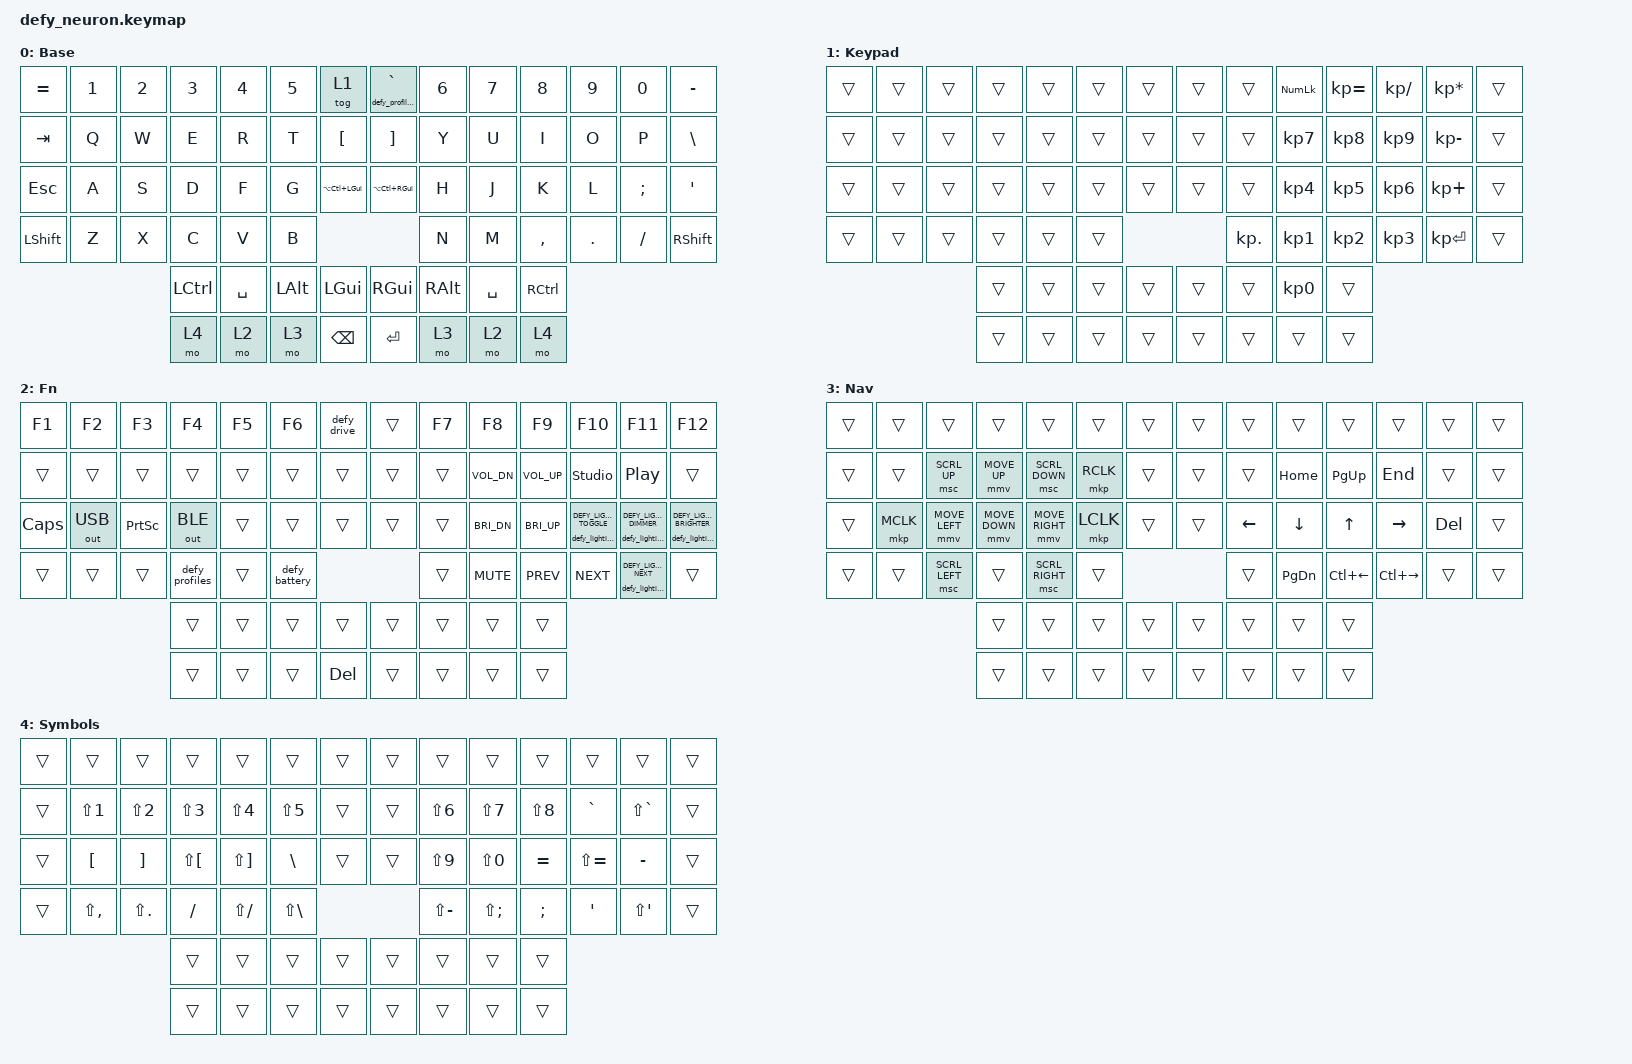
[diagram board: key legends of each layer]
/*
 * The Defy's keymap, on the Neuron: the five layers saved from Bazecor, plus
 * the Defy controls on Fn and the mouse keys on Nav's left half. ZMK finds
 * this file by the board's name.
 *
 * SPDX-License-Identifier: MIT
 */

#include <behaviors.dtsi>
#include <behaviors/defy.dtsi>
#include <dt-bindings/dygma/defy_lighting.h>
#include <dt-bindings/zmk/keys.h>
#include <dt-bindings/zmk/outputs.h>
#include <dt-bindings/zmk/pointing.h>

/ {
    behaviors {
        /* Tap for grave, hold for 300 ms for the Bluetooth profile chooser. */
        defy_profile_tap: profile_tap {
            compatible = "zmk,behavior-hold-tap";
            #binding-cells = <2>;
            display-name = "Grave / Bluetooth profiles";
            tapping-term-ms = <300>;
            flavor = "tap-preferred";
            bindings = <&defy_profiles>, <&kp>;
        };
    };
};

/*
 * LIGHTING
 *
 * On the Fn layer: Fn+L turns the lighting on and off, Fn+; makes it dimmer
 * and Fn+' brighter, in 12 steps from 4 to 255, and Fn+/ shows the next
 * look. The Neuron remembers the look and the brightness.
 *
 * The three blocks below set the colours. After an edit, push it and wait for
 * the build, then run defy-installer update, or copy neuron-hybrid.uf2 onto
 * the DEFY drive. The halves need nothing.
 *
 * Colours, at full strength; the brightness scales them:
 *
 *    DEFY_OFF  DEFY_WHITE  DEFY_WARM_WHITE  DEFY_RED  DEFY_ORANGE  DEFY_YELLOW
 *    DEFY_GREEN  DEFY_CYAN  DEFY_BLUE  DEFY_PURPLE  DEFY_PINK
 *    DEFY_RGB(255, 120, 0)    any other colour: red, green and blue, 0 to 255
 *    0xFF7800                 the same colour as a hex number
 *
 * Every LED has a white LED beside its red, green and blue ones. The part of a
 * colour common to all three lights the white one, so DEFY_WHITE lights the
 * white LEDs alone.
 *
 * Which colours show: the highest layer that is on and has colours in block 2
 * or 3 decides. Its single-key colours from block 3 go over its keys colour
 * from block 2. With no such layer on, the look shows. Fn+L turns
 * everything off.
 *
 * 1. Looks: a colour for the keys and one for the underglow. The lighting
 *    starts with the first look, and Fn+/ steps through the rest. A colour
 *    left out is off. Without looks here the Neuron has four: white keys,
 *    warm white keys, white keys and underglow, and white underglow alone.
 *    To use your own, remove the // marks:
 */
// &defy_lighting {
//     brightness = <24>;                       /* at first, 1 to 255 */
//     plain { keys = <DEFY_WHITE>; };
//     warm { keys = <DEFY_WARM_WHITE>; underglow = <DEFY_WARM_WHITE>; };
//     night { underglow = <DEFY_PURPLE>; };
// };

/*
 * 2. Layer colours: a layer shows its own key and underglow colours while it
 *    is on. layer is the number &mo and &tog use: Base 0, Keypad 1, Fn 2,
 *    Nav 3, Symbols 4. A colour left out comes from the look. Here the
 *    underglow turns blue while Fn is held, and green while Nav is held,
 *    with Nav's keys dark except those block 3 colours.
 */
&defy_layer_lighting {
    fn { layer = <2>; underglow = <DEFY_BLUE>; };
    nav { layer = <3>; keys = <DEFY_OFF>; underglow = <DEFY_GREEN>; };
};

/*
 * 3. Key colours: single keys of a layer in a colour of their own, over the
 *    layer's key colour. Up to 16 groups; a key in two groups takes the later
 *    one's colour. Here the Keypad layer lights its digits green and its
 *    other keys orange. Nav colours its keys by what they do, the same on
 *    both hands: the arrows and the pointer cyan; Home, End, Page Up, Page
 *    Down and Ctrl+Left/Right blue; scrolling purple; the mouse buttons
 *    yellow; Delete red.
 *
 *    key-positions numbers the keys as in the first grid: the left half, then
 *    the right, with the thumb keys in the last two rows. The second grid
 *    shows the same keys on the Base layer, where Kp toggles the Keypad
 *    layer, CAG is Ctrl+Alt+GUI and ` is grave, or held, the Bluetooth
 *    profile chooser.
 *
 *      0   1   2   3   4   5   6      7   8   9  10  11  12  13
 *     14  15  16  17  18  19  20     21  22  23  24  25  26  27
 *     28  29  30  31  32  33  34     35  36  37  38  39  40  41
 *     42  43  44  45  46  47             48  49  50  51  52  53
 *                 54  55  56  57     58  59  60  61
 *                 62  63  64  65     66  67  68  69
 *
 *      =   1   2   3   4   5  Kp      `   6   7   8   9   0   -
 *    Tab   Q   W   E   R   T   [      ]   Y   U   I   O   P   \
 *    Esc   A   S   D   F   G CAG    CAG   H   J   K   L   ;   '
 *    Sft   Z   X   C   V   B              N   M   ,   .   / Sft
 *                Ctl Spc Alt Gui    Gui Alt Spc Ctl
 *                Sym  Fn Nav Bks    Ret Nav  Fn Sym
 */
&defy_key_lighting {
    keypad_digits {
        layer = <1>;
        key-positions = <23 24 25 37 38 39 49 50 51 60>;
        colour = <DEFY_GREEN>;
    };
    keypad_keys {
        layer = <1>;
        key-positions = <9 10 11 12 26 40 48 52>;
        colour = <DEFY_ORANGE>;
    };
    nav_move {
        layer = <3>;
        key-positions = <17 30 31 32 36 37 38 39>;
        colour = <DEFY_CYAN>;
    };
    nav_jump {
        layer = <3>;
        key-positions = <23 24 25 49 50 51>;
        colour = <DEFY_BLUE>;
    };
    nav_scroll {
        layer = <3>;
        key-positions = <16 18 44 46>;
        colour = <DEFY_PURPLE>;
    };
    nav_click {
        layer = <3>;
        key-positions = <19 29 33>;
        colour = <DEFY_YELLOW>;
    };
    nav_delete {
        layer = <3>;
        key-positions = <40>;
        colour = <DEFY_RED>;
    };
};

/ {
    keymap {
        compatible = "zmk,keymap";

        layer_0 {
            display-name = "Base";
            bindings = <
                &kp EQUAL  &kp N1         &kp N2       &kp N3           &kp N4          &kp N5             &tog 1                    &defy_profile_tap 0 GRAVE  &kp N6         &kp N7          &kp N8        &kp N9                &kp N0            &kp MINUS
                &kp TAB    &kp Q          &kp W        &kp E            &kp R           &kp T              &kp LBKT                  &kp RBKT          &kp Y          &kp U           &kp I         &kp O                 &kp P             &kp BSLH
                &kp ESC    &kp A          &kp S        &kp D            &kp F           &kp G              &kp LA(LC(LGUI))          &kp LA(LC(RGUI))  &kp H          &kp J           &kp K         &kp L                 &kp SEMI          &kp SQT
                &kp LSHFT  &kp Z          &kp X        &kp C            &kp V           &kp B                                                          &kp N          &kp M           &kp COMMA     &kp DOT               &kp FSLH          &kp RSHFT

                                                       &kp LCTRL        &kp SPACE       &kp LALT           &kp LGUI                  &kp RGUI          &kp RALT       &kp SPACE       &kp RCTRL
                                                       &mo 4            &mo 2           &mo 3              &kp BSPC                  &kp RET           &mo 3          &mo 2           &mo 4
            >;
        };

        layer_1 {
            display-name = "Keypad";
            bindings = <
                &trans     &trans         &trans       &trans           &trans          &trans             &trans                    &trans            &trans         &kp KP_NUMLOCK  &kp KP_EQUAL  &kp KP_DIVIDE         &kp KP_MULTIPLY   &trans
                &trans     &trans         &trans       &trans           &trans          &trans             &trans                    &trans            &trans         &kp KP_N7       &kp KP_N8     &kp KP_N9             &kp KP_MINUS      &trans
                &trans     &trans         &trans       &trans           &trans          &trans             &trans                    &trans            &trans         &kp KP_N4       &kp KP_N5     &kp KP_N6             &kp KP_PLUS       &trans
                &trans     &trans         &trans       &trans           &trans          &trans                                                         &kp KP_DOT     &kp KP_N1       &kp KP_N2     &kp KP_N3             &kp KP_ENTER      &trans

                                                       &trans           &trans          &trans             &trans                    &trans            &trans         &kp KP_N0       &trans
                                                       &trans           &trans          &trans             &trans                    &trans            &trans         &trans          &trans
            >;
        };

        layer_2 {
            display-name = "Fn";
            bindings = <
                &kp F1     &kp F2         &kp F3       &kp F4           &kp F5          &kp F6             &defy_drive               &trans            &kp F7         &kp F8          &kp F9        &kp F10               &kp F11           &kp F12
                &trans     &trans         &trans       &trans           &trans          &trans             &trans                    &trans            &trans         &kp C_VOL_DN    &kp C_VOL_UP  &studio_unlock        &kp C_PLAY_PAUSE  &trans
                &kp CAPS   &out OUT_USB   &kp PSCRN    &out OUT_BLE     &trans          &trans             &trans                    &trans            &trans         &kp C_BRI_DN    &kp C_BRI_UP  &defy_lighting DEFY_LIGHTING_TOGGLE  &defy_lighting DEFY_LIGHTING_DIMMER  &defy_lighting DEFY_LIGHTING_BRIGHTER
                &trans     &trans         &trans       &defy_profiles   &trans          &defy_battery                                                  &trans         &kp C_MUTE      &kp C_PREV    &kp C_NEXT            &defy_lighting DEFY_LIGHTING_NEXT  &trans

                                                       &trans           &trans          &trans             &trans                    &trans            &trans         &trans          &trans
                                                       &trans           &trans          &trans             &kp DEL                   &trans            &trans         &trans          &trans
            >;
        };

        layer_3 {
            display-name = "Nav";
            bindings = <
                &trans     &trans         &trans       &trans           &trans          &trans             &trans                    &trans            &trans         &trans          &trans        &trans                &trans            &trans
                &trans     &trans         &msc SCRL_UP &mmv MOVE_UP     &msc SCRL_DOWN  &mkp RCLK          &trans                    &trans            &trans         &kp HOME        &kp PG_UP     &kp END               &trans            &trans
                &trans     &mkp MCLK      &mmv MOVE_LEFT &mmv MOVE_DOWN &mmv MOVE_RIGHT &mkp LCLK          &trans                    &trans            &kp LEFT       &kp DOWN        &kp UP        &kp RIGHT             &kp DEL           &trans
                &trans     &trans         &msc SCRL_LEFT &trans         &msc SCRL_RIGHT &trans                                                         &trans         &kp PG_DN       &kp LC(LEFT)  &kp LC(RIGHT)         &trans            &trans

                                                       &trans           &trans          &trans             &trans                    &trans            &trans         &trans          &trans
                                                       &trans           &trans          &trans             &trans                    &trans            &trans         &trans          &trans
            >;
        };

        layer_4 {
            display-name = "Symbols";
            bindings = <
                &trans     &trans         &trans       &trans           &trans          &trans             &trans                    &trans            &trans         &trans          &trans        &trans                &trans            &trans
                &trans     &kp LS(N1)     &kp LS(N2)   &kp LS(N3)       &kp LS(N4)      &kp LS(N5)         &trans                    &trans            &kp LS(N6)     &kp LS(N7)      &kp LS(N8)    &kp GRAVE             &kp LS(GRAVE)     &trans
                &trans     &kp LBKT       &kp RBKT     &kp LS(LBKT)     &kp LS(RBKT)    &kp BSLH           &trans                    &trans            &kp LS(N9)     &kp LS(N0)      &kp EQUAL     &kp LS(EQUAL)         &kp MINUS         &trans
                &trans     &kp LS(COMMA)  &kp LS(DOT)  &kp FSLH         &kp LS(FSLH)    &kp LS(BSLH)                                                   &kp LS(MINUS)  &kp LS(SEMI)    &kp SEMI      &kp SQT               &kp LS(SQT)       &trans

                                                       &trans           &trans          &trans             &trans                    &trans            &trans         &trans          &trans
                                                       &trans           &trans          &trans             &trans                    &trans            &trans         &trans          &trans
            >;
        };

        layer_5 { status = "reserved"; };
        layer_6 { status = "reserved"; };
        layer_7 { status = "reserved"; };
        layer_8 { status = "reserved"; };
        layer_9 { status = "reserved"; };
    };
};
